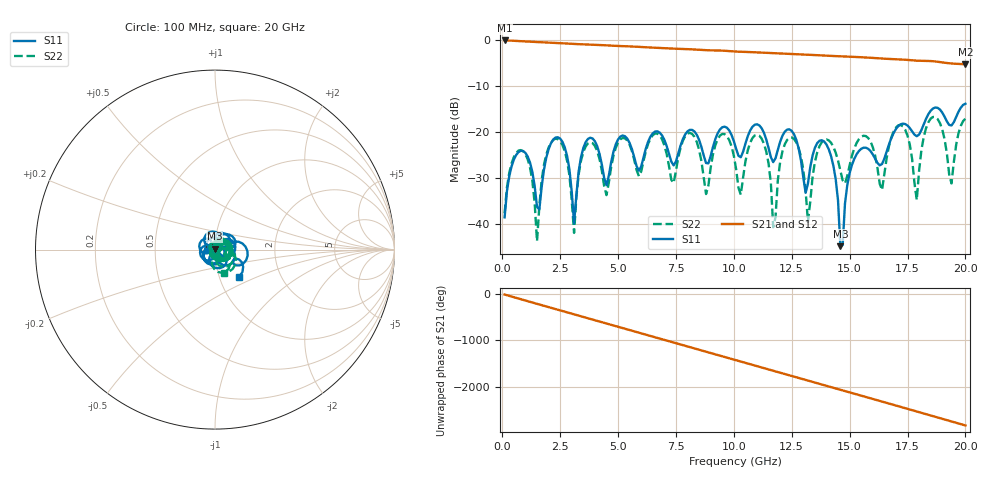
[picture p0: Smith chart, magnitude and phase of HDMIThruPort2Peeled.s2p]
! File created by SignalIntegrity v1.1.13: Signal and Power Integrity Tools
! https://github.com/TeledyneLeCroy/SignalIntegrity
# MHz S MA R 50.0
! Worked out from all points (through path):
!   200 points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, 100 MHz to 20 GHz, reference 50 ohm
!   highest |S21| = -0.07 dB at 100 MHz (marker M1); lowest = -5.2 dB at 20 GHz (marker M2)
!   group delay of S21, straight-line fit = 392 ps
!   lowest |S11| = -44.8 dB at 14.6 GHz (marker M3), VSWR 1.01, Z = 49.9 + j0.557 ohm
!   |S11| at or under -10 dB: start of sweep to end of sweep
!   |S22| runs from -43.8 to -16.7 dB; largest |S21 - S12| = 0.0077
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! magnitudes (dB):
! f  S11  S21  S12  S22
! 100 MHz  -38.6  -0.1  0.0  -37.7
! 900 MHz  -24.1  -0.3  -0.3  -24.2
! 1.5 GHz  -36.3  -0.4  -0.4  -43.8
! 2.4 GHz  -21.1  -0.6  -0.7  -21.5
! 3.1 GHz  -39.8  -0.8  -0.9  -42.0
! 3.5 GHz  -23.5  -0.9  -0.9  -24.3
! 4.5 GHz  -31.6  -1.1  -1.2  -33.7
! 6.8 GHz  -20.1  -1.7  -1.7  -20.8
! 10.1 GHz  -23.7  -2.5  -2.5  -28.1
! 11.2 GHz  -19.2  -2.7  -2.7  -21.4
! 11.7 GHz  -26.6  -2.8  -2.9  -40.7
! 12.3 GHz  -19.5  -3.0  -3.0  -21.7
! 13.2 GHz  -31.2  -3.2  -3.2  -39.6
! 13.4 GHz  -25.1  -3.2  -3.2  -29.8
! 14.2 GHz  -25.3  -3.4  -3.5  -22.4
! 14.6 GHz  -44.8  -3.5  -3.5  -28.4
! 15.2 GHz  -25.8  -3.6  -3.7  -23.6
! 16.7 GHz  -22.7  -4.1  -4.1  -23.0
! 17.9 GHz  -20.9  -4.5  -4.5  -34.8
! 18.4 GHz  -16.1  -4.5  -4.6  -17.9
! 19.4 GHz  -18.6  -5.1  -5.0  -31.2
! 20 GHz  -13.8  -5.2  -5.2  -17.1
